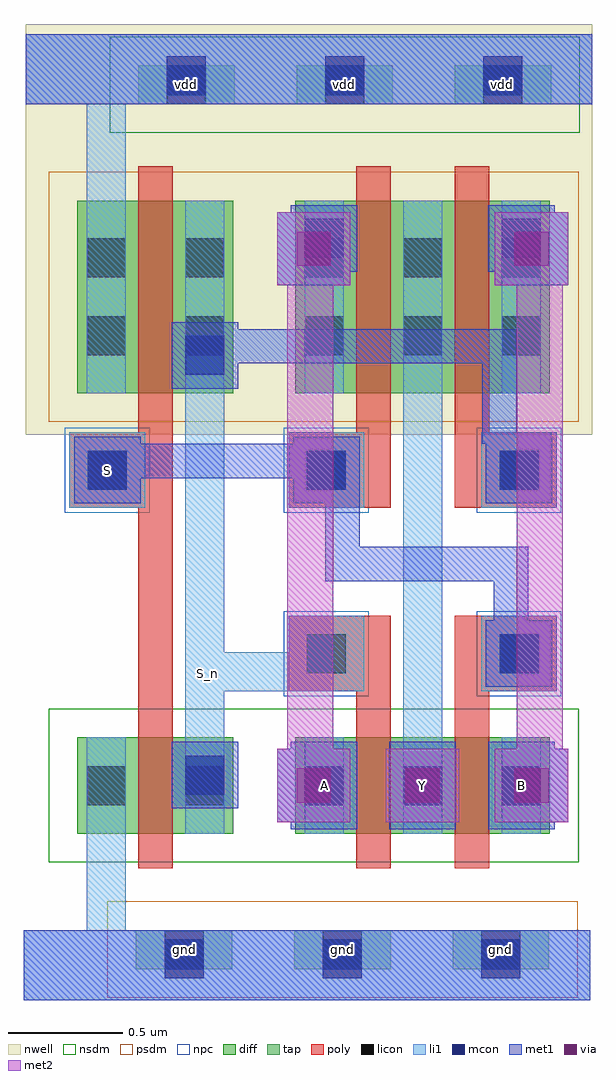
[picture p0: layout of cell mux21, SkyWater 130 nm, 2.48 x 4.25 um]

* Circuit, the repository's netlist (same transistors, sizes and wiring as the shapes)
* NGSPICE file created from mux21.ext - technology: sky130A

.subckt mux21 A B Y S gnd vdd
X0 Y S A vdd sky130_fd_pr__pfet_01v8 ad=0.118 pd=1.12 as=0.223 ps=2.21 w=0.84 l=0.15
X1 S_n S gnd gnd sky130_fd_pr__nfet_01v8 ad=0.111 pd=1.37 as=0.111 ps=1.37 w=0.42 l=0.15
X2 B S Y gnd sky130_fd_pr__nfet_01v8 ad=0.111 pd=1.37 as=0.0588 ps=0.7 w=0.42 l=0.15
X3 S_n S vdd vdd sky130_fd_pr__pfet_01v8 ad=0.223 pd=2.21 as=0.223 ps=2.21 w=0.84 l=0.15
X4 B S_n Y vdd sky130_fd_pr__pfet_01v8 ad=0.223 pd=2.21 as=0.118 ps=1.12 w=0.84 l=0.15
X5 Y S_n A gnd sky130_fd_pr__nfet_01v8 ad=0.0588 pd=0.7 as=0.111 ps=1.37 w=0.42 l=0.15
.ends

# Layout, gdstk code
import gdstk
lib = gdstk.Library(unit=1e-6, precision=1e-09)
def R(c, l, rs):  # rectangles x0, y0, x1, y1
    for r in rs: c.add(gdstk.rectangle(r[:2], r[2:], *l))
def A(c, l, x, y, w, h, nx, ny, dx, dy):  # array of equal rectangles
    R(c, l, [(x+i*dx, y+j*dy, x+i*dx+w, y+j*dy+h) for i in range(nx) for j in range(ny)])
nwell = (64, 20)
diff = (65, 20)
tap = (65, 44)
poly = (66, 20)
licon = (66, 44)
li1 = (67, 20)
mcon = (67, 44)
met1 = (68, 20)
via = (68, 44)
met2 = (69, 20)
nsdm = (93, 44)
psdm = (94, 20)
npc = (95, 20)

mux21 = lib.new_cell('mux21')
R(mux21, nwell, [(-0.49,1.74,1.98,3.53)])
R(mux21, diff, [(-0.265,0,0.415,0.42), (0.685,0,1.795,0.42), (-0.265,1.92,0.415,2.76), (0.685,1.92,1.795,2.76)])
A(mux21, tap, -0.01, -0.59, 0.42, 0.17, 3, 1, 0.69, 0)
A(mux21, tap, 0, 3.18, 0.42, 0.17, 3, 1, 0.69, 0)
R(mux21, poly, [(0,-0.15,0.15,1.42), (0.95,-0.15,1.1,0.62), (1.38,-0.15,1.53,0.62), (0.655,0.62,1.1,0.95), (1.38,0.62,1.825,0.95), (-0.3,1.42,0.15,1.75), (0.655,1.42,1.1,1.75), (1.38,1.42,1.825,1.75), (0,1.75,0.15,2.91), (0.95,1.75,1.1,2.91), (1.38,1.75,1.53,2.91)])
A(mux21, licon, 0.115, -0.59, 0.17, 0.17, 3, 1, 0.69, 0)
A(mux21, licon, 0.725, 0.125, 0.17, 0.17, 3, 2, 0.43, 1.96)
A(mux21, licon, 0.725, 2.425, 0.17, 0.17, 3, 1, 0.43, 0)
A(mux21, licon, 0.125, 3.18, 0.17, 0.17, 3, 1, 0.69, 0)
R(mux21, licon, [(-0.225,0.125,-0.055,0.295), (0.205,0.125,0.375,0.295), (0.735,0.7,0.905,0.87), (1.575,0.7,1.745,0.87), (-0.22,1.5,-0.05,1.67), (0.735,1.5,0.905,1.67), (1.575,1.5,1.745,1.67), (-0.225,2.085,-0.055,2.255), (0.205,2.085,0.375,2.255), (-0.225,2.425,-0.055,2.595), (0.205,2.425,0.375,2.595)])
R(mux21, li1, [(-0.5,-0.725,1.97,-0.42), (-0.225,-0.42,-0.055,0.42), (0.205,0,0.375,0.62), (0.725,0,0.895,0.42), (1.155,0,1.325,2.76), (1.585,0,1.755,0.42), (0.205,0.62,0.985,0.79), (1.495,0.62,1.825,0.95), (0.205,0.79,0.375,2.76), (0.655,0.79,0.985,0.95), (-0.3,1.42,0.03,1.75), (0.655,1.42,0.985,1.75), (1.495,1.42,1.825,1.75), (-0.225,1.92,-0.055,3.18), (0.725,1.92,0.895,2.76), (1.585,1.92,1.755,2.76), (-0.49,3.18,1.98,3.485)])
A(mux21, mcon, 0.115, -0.63, 0.17, 0.17, 3, 1, 0.69, 0)
A(mux21, mcon, 0.725, 0.125, 0.17, 0.17, 3, 1, 0.43, 0)
A(mux21, mcon, 0.125, 3.22, 0.17, 0.17, 3, 1, 0.69, 0)
R(mux21, mcon, [(0.205,0.17,0.375,0.34), (1.575,0.7,1.745,0.87), (-0.22,1.5,-0.05,1.67), (0.735,1.5,0.905,1.67), (1.575,1.5,1.745,1.67), (0.205,2,0.375,2.17), (0.725,2.51,0.895,2.68), (1.585,2.51,1.755,2.68)])
R(mux21, met1, [(-0.5,-0.725,1.97,-0.42), (0.665,0.02,0.955,0.05), (1.095,0.02,1.385,0.4), (1.525,0.02,1.815,0.05), (0.605,0.05,0.955,0.37), (1.525,0.05,1.875,0.37), (0.145,0.11,0.435,0.4), (0.665,0.37,0.955,0.4), (1.525,0.37,1.815,0.4), (1.515,0.64,1.805,0.93), (1.55,0.93,1.7,1.1), (0.815,1.1,1.7,1.25), (0.815,1.25,0.965,1.44), (-0.28,1.44,0.01,1.55), (0.675,1.44,0.965,1.55), (1.515,1.44,1.805,1.7), (-0.28,1.55,0.965,1.7), (-0.28,1.7,0.01,1.73), (0.675,1.7,0.965,1.73), (1.5,1.7,1.805,1.73), (1.5,1.73,1.8,1.75), (1.5,1.75,1.65,2.05), (0.145,1.94,0.435,2.05), (0.145,2.05,1.65,2.2), (0.145,2.2,0.435,2.23), (0.605,2.39,0.925,2.45), (1.555,2.39,1.875,2.45), (0.605,2.45,0.955,2.71), (1.525,2.45,1.875,2.71), (0.665,2.71,0.955,2.74), (1.525,2.71,1.815,2.74), (-0.49,3.18,1.98,3.485)])
A(mux21, via, 0.69, 0.135, 0.15, 0.15, 3, 1, 0.475, 0)
R(mux21, via, [(0.69,2.475,0.84,2.625), (1.64,2.475,1.79,2.625)])
A(mux21, met2, 0.605, 0.05, 0.32, 0.32, 3, 1, 0.475, 0)
R(mux21, met2, [(0.65,0.37,0.85,2.39), (1.65,0.37,1.85,2.39), (0.605,2.39,0.925,2.71), (1.555,2.39,1.875,2.71)])
R(mux21, nsdm, [(-0.39,-0.125,1.92,0.545), (-0.125,3.055,1.925,3.475)])
R(mux21, psdm, [(-0.135,-0.715,1.915,-0.295), (-0.39,1.795,1.92,2.885)])
R(mux21, npc, [(0.635,0.6,1.005,0.97), (1.475,0.6,1.845,0.97), (-0.32,1.4,0.05,1.77), (0.635,1.4,1.005,1.77), (1.475,1.4,1.845,1.77)])
mux21.add(gdstk.Label('S_n', (0.3,0.7), layer=67, texttype=5))
mux21.add(gdstk.Label('vdd', (0.9,3.265), layer=68, texttype=5))
mux21.add(gdstk.Label('vdd', (1.59,3.265), layer=68, texttype=5))
mux21.add(gdstk.Label('gnd', (0.89,-0.505), layer=68, texttype=5))
mux21.add(gdstk.Label('gnd', (1.58,-0.505), layer=68, texttype=5))
mux21.add(gdstk.Label('A', (0.81,0.21), layer=69, texttype=5))
mux21.add(gdstk.Label('B', (1.67,0.21), layer=69, texttype=5))
mux21.add(gdstk.Label('Y', (1.24,0.21), layer=69, texttype=5))
mux21.add(gdstk.Label('S', (-0.135,1.585), layer=68, texttype=5))
mux21.add(gdstk.Label('gnd', (0.2,-0.505), layer=68, texttype=5))
mux21.add(gdstk.Label('vdd', (0.21,3.265), layer=68, texttype=5))

lib.write_gds('mux21.gds')
